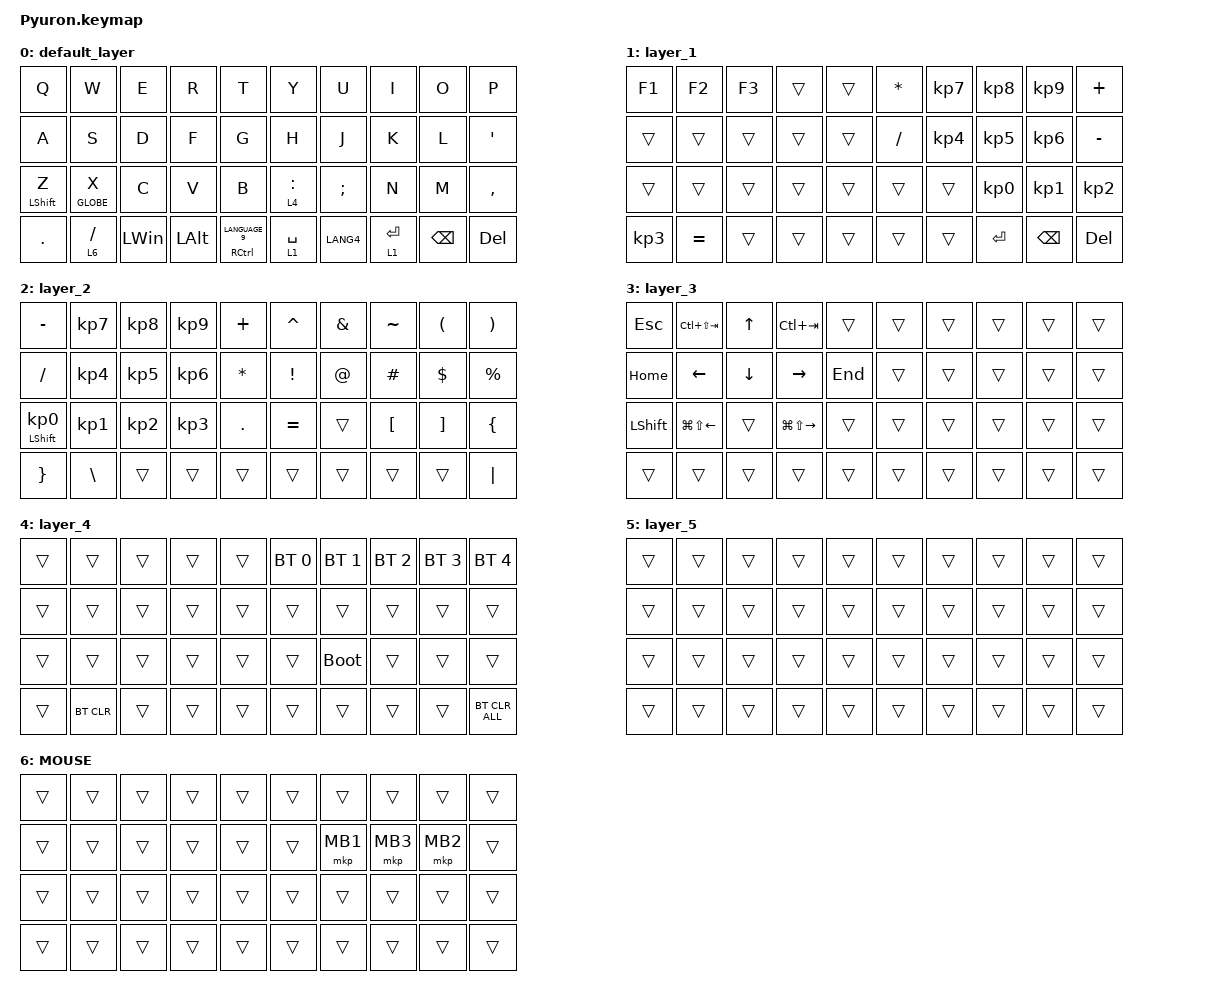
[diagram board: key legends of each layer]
#include <behaviors.dtsi>
#include <dt-bindings/zmk/bt.h>
#include <dt-bindings/zmk/keys.h>
#include <dt-bindings/zmk/pointing.h>

#define MOUSE 6

&mt {
    flavor = "balanced";
    quick-tap-ms = <0>;
};

/ {
    combos { compatible = "zmk,combos"; };

    macros {
        to_layer_0: to_layer_0 {
            compatible = "zmk,behavior-macro-one-param";
            #binding-cells = <1>;
            bindings = <&to 0 &macro_param_1to1 &kp MACRO_PLACEHOLDER>;
            label = "TO_LAYER_0";
        };
    };

    lt_to_layer_0: lt_to_layer_0 {
        compatible = "zmk,behavior-hold-tap";
        label = "LAYER_TAP_TO_0";
        bindings = <&mo>, <&to_layer_0>;

        #binding-cells = <2>;
        tapping-term-ms = <200>;
    };
};

/ {
    behaviors {
    };

    keymap {
        compatible = "zmk,keymap";

        default_layer {
            bindings = <
&kp Q             &kp W                   &kp E         &kp R         &kp T                 &kp Y        &kp U          &kp I        &kp O          &kp P
&kp A             &kp S                   &kp D         &kp F         &kp G                 &kp H        &kp J          &kp K        &kp L          &kp SQT
&mt LEFT_SHIFT Z  &mt GLOBE X             &kp C         &kp V         &kp B                 &lt 4 COLON  &kp SEMICOLON  &kp N        &kp M          &kp COMMA
&kp DOT           &lt_to_layer_0 6 SLASH  &kp LEFT_WIN  &kp LEFT_ALT  &mt RCTRL LANGUAGE_9  &lt 1 SPACE  &kp LANG4      &lt 1 ENTER  &kp BACKSPACE  &kp DEL
            >;
        };

        layer_1 {
            bindings = <
&kp F1     &kp F2     &kp F3  &trans  &trans  &kp ASTERISK  &kp KP_N7  &kp KP_N8  &kp KP_N9        &kp PLUS
&trans     &trans     &trans  &trans  &trans  &kp SLASH     &kp KP_N4  &kp KP_N5  &kp KP_N6        &kp MINUS
&trans     &trans     &trans  &trans  &trans  &trans        &trans     &kp KP_N0  &kp KP_NUMBER_1  &kp KP_N2
&kp KP_N3  &kp EQUAL  &trans  &trans  &trans  &trans        &trans     &kp ENTER  &kp BACKSPACE    &kp DEL
            >;
        };

        layer_2 {
            bindings = <
&kp MINUS                   &kp KP_NUMBER_7  &kp KP_NUMBER_8  &kp KP_NUMBER_9  &kp PLUS      &kp CARET        &kp AMPERSAND  &kp TILDE         &kp LEFT_PARENTHESIS  &kp RIGHT_PARENTHESIS
&kp SLASH                   &kp KP_NUMBER_4  &kp KP_NUMBER_5  &kp KP_NUMBER_6  &kp ASTERISK  &kp EXCLAMATION  &kp AT_SIGN    &kp HASH          &kp DOLLAR            &kp PERCENT
&mt LEFT_SHIFT KP_NUMBER_0  &kp KP_NUMBER_1  &kp KP_NUMBER_2  &kp KP_NUMBER_3  &kp PERIOD    &kp EQUAL        &trans         &kp LEFT_BRACKET  &kp RIGHT_BRACKET     &kp LEFT_BRACE
&kp RIGHT_BRACE             &kp BACKSLASH    &trans           &trans           &trans        &trans           &trans         &trans            &trans                &kp PIPE
            >;
        };

        layer_3 {
            bindings = <
&kp ESCAPE      &kp LC(LS(TAB))         &kp UP_ARROW    &kp LC(TAB)              &trans   &trans  &trans  &trans  &trans  &trans
&kp HOME        &kp LEFT_ARROW          &kp DOWN_ARROW  &kp RIGHT_ARROW          &kp END  &trans  &trans  &trans  &trans  &trans
&kp LEFT_SHIFT  &kp LG(LS(LEFT_ARROW))  &trans          &kp LG(LS(RIGHT_ARROW))  &trans   &trans  &trans  &trans  &trans  &trans
&trans          &trans                  &trans          &trans                   &trans   &trans  &trans  &trans  &trans  &trans
            >;
        };

        layer_4 {
            bindings = <
&trans  &trans      &trans  &trans  &trans  &bt BT_SEL 0  &bt BT_SEL 1  &bt BT_SEL 2  &bt BT_SEL 3  &bt BT_SEL 4
&trans  &trans      &trans  &trans  &trans  &trans        &trans        &trans        &trans        &trans
&trans  &trans      &trans  &trans  &trans  &trans        &bootloader   &trans        &trans        &trans
&trans  &bt BT_CLR  &trans  &trans  &trans  &trans        &trans        &trans        &trans        &bt BT_CLR_ALL
            >;
        };

        layer_5 {
            bindings = <
&trans  &trans  &trans  &trans  &trans  &trans  &trans  &trans  &trans  &trans
&trans  &trans  &trans  &trans  &trans  &trans  &trans  &trans  &trans  &trans
&trans  &trans  &trans  &trans  &trans  &trans  &trans  &trans  &trans  &trans
&trans  &trans  &trans  &trans  &trans  &trans  &trans  &trans  &trans  &trans
            >;
        };

        MOUSE {
            bindings = <
&trans  &trans  &trans  &trans  &trans  &trans  &trans    &trans    &trans    &trans
&trans  &trans  &trans  &trans  &trans  &trans  &mkp MB1  &mkp MB3  &mkp MB2  &trans
&trans  &trans  &trans  &trans  &trans  &trans  &trans    &trans    &trans    &trans
&trans  &trans  &trans  &trans  &trans  &trans  &trans    &trans    &trans    &trans
            >;
        };
    };
};
